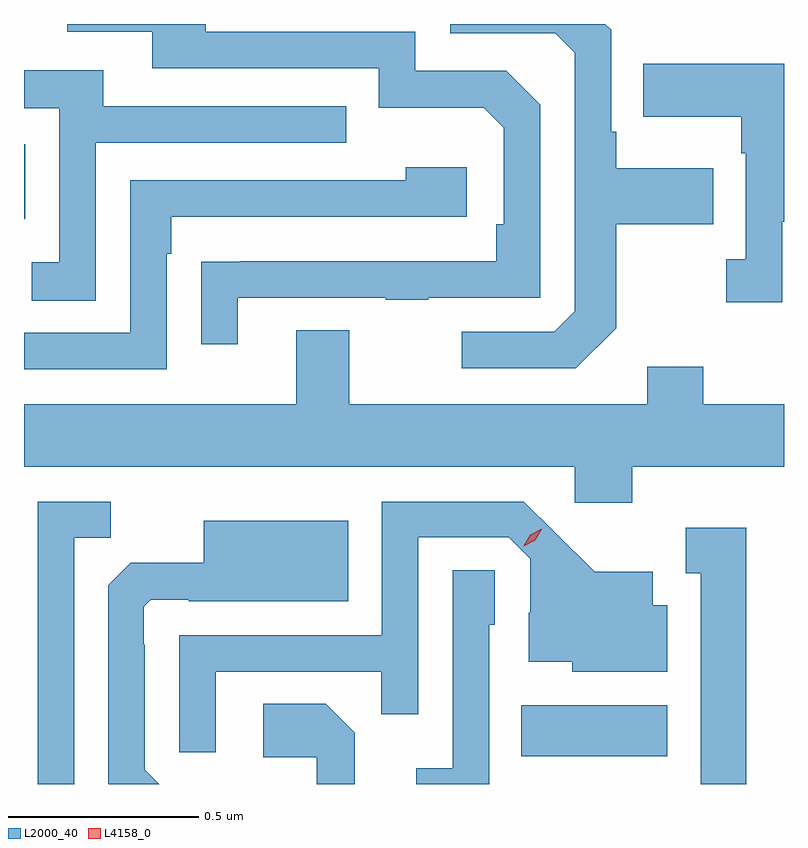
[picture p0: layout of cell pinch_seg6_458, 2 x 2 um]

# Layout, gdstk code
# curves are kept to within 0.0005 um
import gdstk
lib = gdstk.Library(unit=1e-6, precision=1e-09)
def R(c, l, rs):  # rectangles x0, y0, x1, y1
    for r in rs: c.add(gdstk.rectangle(r[:2], r[2:], *l))
def P(c, l, *ps):  # polygons
    for p in ps: c.add(gdstk.Polygon(p, *l))
L2000_40 = (2000, 40)
L4158_0 = (4158, 0)

pinch_seg6_458 = lib.new_cell('pinch_seg6_458')
R(pinch_seg6_458, L2000_40, [(722.782,921.266,723.166,921.4)])
P(pinch_seg6_458, L2000_40, [(723.031,922.393),(723.031,922.666),(723.287,922.666),(723.287,922.813),(723.031,922.813),(723.031,922.909),(723.018,922.909),(723.018,923.178),(723.003,923.193),(722.595,923.193),(722.595,923.169),(722.871,923.169),(722.922,923.118),(722.922,922.437),(722.868,922.383),(722.625,922.383),(722.625,922.287),(722.925,922.287)],
  [(722.035,922.473),(722.425,922.473),(722.425,922.468),(722.537,922.468),(722.537,922.473),(722.832,922.473),(722.832,922.98),(722.742,923.07),(722.502,923.07),(722.502,923.172),(721.951,923.172),(721.951,923.193),(721.587,923.193),(721.587,923.172),(721.811,923.172),(721.811,923.076),(722.406,923.076),(722.406,922.973),(722.683,922.973),(722.736,922.92),(722.736,922.666),(722.716,922.666),(722.716,922.569),(722.041,922.569),(722.041,922.568),(721.939,922.568),(721.939,922.35),(722.035,922.35)],
  [(723.469,922.673),(723.473,922.673),(723.473,923.089),(723.103,923.089),(723.103,922.949),(723.36,922.949),(723.36,922.853),(723.372,922.853),(723.372,922.574),(723.321,922.574),(723.321,922.461),(723.469,922.461)],
  [(721.662,922.881),(722.321,922.881),(722.321,922.977),(721.681,922.977),(721.681,923.071),(721.473,923.071),(721.473,922.971),(721.566,922.971),(721.566,922.566),(721.494,922.566),(721.494,922.465),(721.662,922.465)],
  [(721.476,922.682),(721.476,922.876),(721.473,922.876),(721.473,922.679)],
  [(721.848,922.589),(721.861,922.589),(721.861,922.686),(722.638,922.686),(722.638,922.816),(722.477,922.816),(722.477,922.782),(721.752,922.782),(721.752,922.38),(721.473,922.38),(721.473,922.284),(721.848,922.284)],
  [(723.074,922.028),(723.473,922.028),(723.473,922.192),(723.261,922.192),(723.261,922.291),(723.113,922.291),(723.113,922.192),(722.329,922.192),(722.329,922.387),(722.189,922.387),(722.189,922.192),(721.473,922.192),(721.473,922.028),(722.922,922.028),(722.922,921.933),(723.074,921.933)],
  [(721.605,921.841),(721.701,921.841),(721.701,921.936),(721.509,921.936),(721.509,921.193),(721.605,921.193)],
  [(721.977,921.489),(722.413,921.489),(722.413,921.376),(722.511,921.376),(722.511,921.843),(722.748,921.843),(722.805,921.786),(722.805,921.644),(722.801,921.644),(722.801,921.515),(722.916,921.515),(722.916,921.488),(723.166,921.488),(723.166,921.664),(723.127,921.664),(723.127,921.751),(722.975,921.751),(722.788,921.936),(722.415,921.936),(722.415,921.585),(721.881,921.585),(721.881,921.276),(721.977,921.276)],
  [(721.791,921.231),(721.791,921.56),(721.788,921.56),(721.788,921.66),(721.806,921.678),(721.906,921.678),(721.906,921.674),(722.326,921.674),(722.326,921.886),(721.946,921.886),(721.946,921.775),(721.754,921.775),(721.695,921.716),(721.695,921.194),(721.696,921.193),(721.829,921.193)],
  [(723.373,921.868),(723.215,921.868),(723.215,921.747),(723.254,921.747),(723.254,921.193),(723.373,921.193)],
  [(722.697,921.612),(722.712,921.612),(722.712,921.755),(722.601,921.755),(722.601,921.235),(722.505,921.235),(722.505,921.193),(722.697,921.193)],
  [(722.343,921.328),(722.267,921.404),(722.103,921.404),(722.103,921.264),(722.244,921.264),(722.244,921.193),(722.343,921.193)])
P(pinch_seg6_458, L4158_0, [(722.788,921.819),(722.788,921.82),(722.805,921.849),(722.836,921.865),(722.836,921.865),(722.836,921.864),(722.819,921.835),(722.788,921.819)])

lib.write_gds('pinch_seg6_458.gds')
